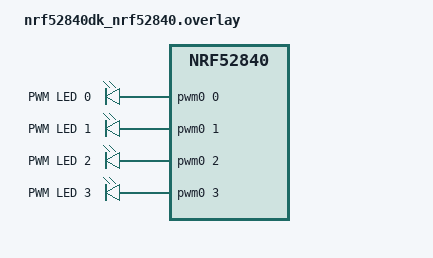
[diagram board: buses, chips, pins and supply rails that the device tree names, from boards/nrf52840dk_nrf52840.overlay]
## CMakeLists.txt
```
#-------------------------------------------------------------------------------
# Zephyr Example Application
#
# Copyright (c) 2021 Nordic Semiconductor ASA
# SPDX-License-Identifier: Apache-2.0

cmake_minimum_required(VERSION 3.13.1)
set(BOARD nrf52840dk/nrf52840)
find_package(Zephyr REQUIRED HINTS $ENV{ZEPHYR_BASE})

project(app LANGUAGES C)
```

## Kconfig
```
# Copyright (c) 2021 Nordic Semiconductor ASA
# SPDX-License-Identifier: Apache-2.0
#
# This file is the application Kconfig entry point. All application Kconfig
# options can be defined here or included via other application Kconfig files.
# You can browse these options using the west targets menuconfig (terminal) or
# guiconfig (GUI).

# Add EIE Kconfigs. This is at the top so it can override defaults from Zephyr
rsource "../drivers/Kconfig.eie"

menu "Zephyr"
source "Kconfig.zephyr"
endmenu

module = APP
module-str = APP
source "subsys/logging/Kconfig.template.log_config"
```

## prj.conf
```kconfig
# Copyright (c) 2021 Nordic Semiconductor ASA
# SPDX-License-Identifier: Apache-2.0
#
# This file contains selected Kconfig options for the application.

CONFIG_GPIO=y
CONFIG_PWM=y
CONFIG_SMF=y
CONFIG_NANOPB=y
CONFIG_EIE_SIMPLE_BLE=y
# CONFIG_UART_CONSOLE=y
CONFIG_EIE_ZEPHYR_DEBUG=y
# CONFIG_EIE_BLE_DEBUG=y


CONFIG_COMPILER_WARNINGS_AS_ERRORS=y
```

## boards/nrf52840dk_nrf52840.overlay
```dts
/ {
    pwmleds {
        compatible = "pwm-leds";
        pwm_led0: pwm_led_0 {
            pwms = <&pwm0 0 PWM_MSEC(20) PWM_POLARITY_NORMAL>;
            label = "PWM LED 0";
        };
        pwm_led1: pwm_led_1 {
            pwms = <&pwm0 1 PWM_MSEC(20) PWM_POLARITY_NORMAL>;
            label = "PWM LED 1";
        };
        pwm_led2: pwm_led_2 {
            pwms = <&pwm0 2 PWM_MSEC(20) PWM_POLARITY_NORMAL>;
            label = "PWM LED 2";
        };
        pwm_led3: pwm_led_3 {
            pwms = <&pwm0 3 PWM_MSEC(20) PWM_POLARITY_NORMAL>;
            label = "PWM LED 3";
        };
    };

    aliases {
        pwm-led0 = &pwm_led0;
        pwm-led1 = &pwm_led1;
        pwm-led2 = &pwm_led2;
        pwm-led3 = &pwm_led3;
    };
};

&pinctrl { 
    pwm0_default: pwm0_default {
		group1 {
			psels = 
                <NRF_PSEL(PWM_OUT0, 0, 13)>, 
                <NRF_PSEL(PWM_OUT1, 0, 14)>, 
                <NRF_PSEL(PWM_OUT2, 0, 15)>, 
                <NRF_PSEL(PWM_OUT3, 0, 16)>;
			nordic,invert;
		};
	};

    pwm0_sleep: pwm0_sleep {
		group1 {
			psels = 
                <NRF_PSEL(PWM_OUT0, 0, 13)>, 
                <NRF_PSEL(PWM_OUT1, 0, 14)>, 
                <NRF_PSEL(PWM_OUT2, 0, 15)>, 
                <NRF_PSEL(PWM_OUT3, 0, 16)>;
			low-power-enable;
		};
	};
};
```

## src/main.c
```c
/**
 * @file main.c
 */

#include <inttypes.h>
#include <zephyr/kernel.h>
#include <zephyr/sys/printk.h>

#include "BTN.h"
#include "LED.h"

#define SLEEP_MS 1
#define PASSWORD_MAX_LENGTH 10

typedef enum {
    ENTRY_MODE,
    LOCKED_MODE,
    WAITING_MODE
} program_state;


int startup_sequence(void);
int password_input(int *password, int max_size);
int password_entry(const int *saved_password,
                   const int *entered_password,
                   int saved_size,
                   int entered_size);
int entry_mode(int *saved_password);
void locked_mode(void);
void waiting_mode(void);


int main(void) {

    if (0 > BTN_init()) {
        return -1;
    }

    if (0 > LED_init()) {
        return -1;
    }

   
    int saved_password[PASSWORD_MAX_LENGTH] = {0, 1, 2};
    int saved_size = 3;

   
    int enter_requested = startup_sequence();

    
    if (enter_requested) {
        int new_size = entry_mode(saved_password);

        if (new_size > 0) {
            saved_size = new_size;
        }
    }

    program_state state = LOCKED_MODE;

    while (1) {

        switch (state) {

        case LOCKED_MODE: {
            LED_set(LED0, LED_ON);

            int entered_password[PASSWORD_MAX_LENGTH];

            int entered_size = password_input(
                entered_password, PASSWORD_MAX_LENGTH);

            if (password_entry(saved_password,
                               entered_password,
                               saved_size,
                               entered_size)) {

                printk("Correct!\n");

            } else {

                printk("Incorrect!\n");
            }

            state = WAITING_MODE;
            break;
        }

        case WAITING_MODE:
            LED_set(LED0, LED_OFF);
            waiting_mode();
            state = LOCKED_MODE;
            break;

        default:
            state = LOCKED_MODE;
            break;
        }

    }

    return 0;
}



int startup_sequence(void) {

    int enter_requested = 0;

    LED_set(LED3, LED_ON);

    int64_t start_time = k_uptime_get();

    while ((k_uptime_get() - start_time) < 3000) {

        if (BTN_check_clear_pressed(BTN3)) {
            enter_requested = 1;
        }

        k_msleep(SLEEP_MS);
    }

    LED_set(LED3, LED_OFF);

    return enter_requested;
}



int password_input(int *password, int max_size) {

    int size = 0;
    int end = 0;

    while (!end) {

        if (BTN_check_clear_pressed(BTN0)) {

            if (size < max_size) {
                password[size] = 0;
                size++;
            }

        } else if (BTN_check_clear_pressed(BTN1)) {

            if (size < max_size) {
                password[size] = 1;
                size++;
            }

        } else if (BTN_check_clear_pressed(BTN2)) {

            if (size < max_size) {
                password[size] = 2;
                size++;
            }

        } else if (BTN_check_clear_pressed(BTN3)) {

            end = 1;
        }

        k_msleep(SLEEP_MS);
    }

    return size;
}



int password_entry(const int *saved_password,
                   const int *entered_password,
                   int saved_size,
                   int entered_size) {

    if (saved_size != entered_size) {
        return 0;
    }

    for (int i = 0; i < saved_size; i++) {

        if (saved_password[i] != entered_password[i]) {
            return 0;
        }
    }

    return 1;
}



int entry_mode(int *saved_password) {

    LED_set(LED3, LED_ON);

    printk("Enter new password, then press BTN3 to save.\n");

    int size = password_input(saved_password,
                              PASSWORD_MAX_LENGTH);

    if (size > 0) {
        printk("Password saved!\n");
    } else {
        printk("Empty password. Previous password retained.\n");
    }

    LED_set(LED3, LED_OFF);

    return size;
}



void waiting_mode(void) {


    BTN_clear_pressed(BTN0);
    BTN_clear_pressed(BTN1);
    BTN_clear_pressed(BTN2);
    BTN_clear_pressed(BTN3);

    while (1) {

        if (BTN_check_clear_pressed(BTN0) ||
            BTN_check_clear_pressed(BTN1) ||
            BTN_check_clear_pressed(BTN2) ||
            BTN_check_clear_pressed(BTN3)) {

            return;
        }

        k_msleep(SLEEP_MS);
    }
}
```

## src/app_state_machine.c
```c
/**
 * @file app_state_machine.c
 */

#include <zephyr/smf.h>
#include <zephyr/sys/printk.h>
#include <zephyr/drivers/gpio.h>
#include "LED.h"
#include "app_state_machine.h"

#define MAX_STRING_LENGTH 256
#define STANDBY_HOLD_TIME_MS 3000
#define SLEEP_MS 1

/*-------------------------------------------------------
 * Type Definitions
 *---------------------------------------------------------*/
enum states {
    STATE_CHAR_ENTRY,
    STATE_STRING_BUILD,
    STATE_STRING_READY,
    STATE_STANDBY
};

typedef struct {
    struct smf_ctx ctx;
    uint8_t current_char;
    uint8_t bit_position;
    char string_buffer[MAX_STRING_LENGTH];
    uint8_t string_length;
    enum states previous_state;
    uint32_t btn_hold_counter;
    uint32_t led_counter;
    uint8_t pwm_brightness;
    bool pwm_increasing;
    bool buttons_held[4];
    bool button_events[4];  // Event flags for button presses
} app_state_machine_t;

/*-------------------------------------------------------
 * Local Variables
 *---------------------------------------------------------*/
static app_state_machine_t sm;
static const struct smf_state states[];

/*-------------------------------------------------------
 * Helper Functions
 *---------------------------------------------------------*/
static void reset_character(void) {
    printk("[DEBUG] Resetting current character\n");
    sm.current_char = 65; // Start at 'A'
    sm.bit_position = 0;
    printk("[INFO] Character reset to 'A'\n");
}

static void reset_string(void) {
    printk("[DEBUG] Resetting entire string\n");
    sm.string_length = 0;
    for (int i = 0; i < MAX_STRING_LENGTH; i++) {
        sm.string_buffer[i] = '\0';
    }
    printk("[INFO] String buffer cleared\n");
}

// Display current character in binary on LED0-2 (lower 3 bits)
static void display_character_on_leds(void) {
    LED_set(LED0, (sm.current_char & 0x01) ? LED_ON : LED_OFF);
    LED_set(LED1, (sm.current_char & 0x02) ? LED_ON : LED_OFF);
    LED_set(LED2, (sm.current_char & 0x04) ? LED_ON : LED_OFF);
    // LED3 is used for state blinking indicator
}

// Print current character info to console
static void print_current_character(void) {
    printk("[INFO] Current: '%c' (ASCII %d, 0x%02X, 0b", 
           sm.current_char, sm.current_char, sm.current_char);
    for (int i = 7; i >= 0; i--) {
        printk("%d", (sm.current_char >> i) & 1);
    }
    printk(")\n");
}

static void print_string(void) {
    printk("\n╔══════════════════════════════════════════════╗\n");
    printk("║          STRING OUTPUT TO SERIAL             ║\n");
    printk("╚══════════════════════════════════════════════╝\n");
    printk("Length: %d characters\n", sm.string_length);
    printk("String: \"");
    for (int i = 0; i < sm.string_length; i++) {
        printk("%c", sm.string_buffer[i]);
    }
    printk("\"\n");
    printk("Hex: ");
    for (int i = 0; i < sm.string_length; i++) {
        printk("%02X ", sm.string_buffer[i]);
    }
    printk("\n");
    printk("═══════════════════════════════════════════════\n\n");
}

static void blink_led(led_id led) {
    LED_set(led, LED_ON);
    k_msleep(100);
    LED_set(led, LED_OFF);
}

/*-------------------------------------------------------
 * STATE 1: Character Entry (EFFICIENT METHOD)
 *---------------------------------------------------------*/
static void char_entry_entry(void *o) {
    printk("\n╔═══════════════════════════════════════════════╗\n");
    printk("║  STATE 1: CHARACTER ENTRY                    ║\n");
    printk("╚═══════════════════════════════════════════════╝\n");
    printk("Instructions:\n");
    printk("  BTN1: Previous character (←)\n");
    printk("  BTN2: Next character (→)\n");
    printk("  BTN3: Reset to 'A'\n");
    printk("  BTN4: Save character\n");
    printk("  Hold BTN1+BTN2 for 3s: Standby mode\n");
    printk("LED0-2 show character in binary\n");
    printk("LED3 blinking at 1 Hz\n\n");
    
    // Start at 'A' if not already set
    if (sm.current_char < 32 || sm.current_char > 126) {
        sm.current_char = 65; // 'A'
    }
    display_character_on_leds();
    print_current_character();
    sm.led_counter = 0;
}

static enum smf_state_result char_entry_run(void *o) {
    // LED3 blink at 1 Hz (500ms on, 500ms off)
    sm.led_counter++;
    if (sm.led_counter >= 500) {
        static bool led3_state = false;
        led3_state = !led3_state;
        LED_set(LED3, led3_state ? LED_ON : LED_OFF);
        sm.led_counter = 0;
    }
    
    // Check for standby hold (BTN0 + BTN1 for 3 seconds)
    if (sm.buttons_held[APP_BUTTON_0] && sm.buttons_held[APP_BUTTON_1]) {
        sm.btn_hold_counter++;
        if (sm.btn_hold_counter >= STANDBY_HOLD_TIME_MS) {
            printk("[INFO] BTN1+BTN2 held for 3s, entering STANDBY\n");
            sm.previous_state = STATE_CHAR_ENTRY;
            sm.btn_hold_counter = 0;
            smf_set_state(SMF_CTX(&sm), &states[STATE_STANDBY]);
            return SMF_EVENT_HANDLED;
        }
    } else {
        sm.btn_hold_counter = 0;
    }
    
    // Handle button press events
    // BTN0: Previous character (decrement)
    if (sm.button_events[APP_BUTTON_0]) {
        sm.button_events[APP_BUTTON_0] = false;
        printk("[EVENT] BTN1 pressed - Previous character\n");
        
        sm.current_char--;
        // Wrap around: space (32) to tilde (126)
        if (sm.current_char < 32) {
            sm.current_char = 126;
        }
        
        display_character_on_leds();
        print_current_character();
        blink_led(LED0);
    }
    
    // BTN1: Next character (increment)
    if (sm.button_events[APP_BUTTON_1]) {
        sm.button_events[APP_BUTTON_1] = false;
        printk("[EVENT] BTN2 pressed - Next character\n");
        
        sm.current_char++;
        // Wrap around: tilde (126) to space (32)
        if (sm.current_char > 126) {
            sm.current_char = 32;
        }
        
        display_character_on_leds();
        print_current_character();
        blink_led(LED1);
    }
    
    // BTN2: Reset to 'A'
    if (sm.button_events[APP_BUTTON_2]) {
        sm.button_events[APP_BUTTON_2] = false;
        printk("[EVENT] BTN3 pressed - Reset to 'A'\n");
        sm.current_char = 65; // 'A'
        display_character_on_leds();
        print_current_character();
    }
    
    // BTN3: Save character and move to STRING_BUILD
    if (sm.button_events[APP_BUTTON_3]) {
        sm.button_events[APP_BUTTON_3] = false;
        printk("[EVENT] BTN4 pressed - Saving character '%c'\n", sm.current_char);
        
        if (sm.string_length < MAX_STRING_LENGTH - 1) {
            sm.string_buffer[sm.string_length] = sm.current_char;
            sm.string_length++;
            printk("[SUCCESS] Character '%c' saved (string length: %d)\n", 
                   sm.current_char, sm.string_length);
            smf_set_state(SMF_CTX(&sm), &states[STATE_STRING_BUILD]);
        } else {
            printk("[ERROR] String buffer full!\n");
        }
    }
    
    return SMF_EVENT_HANDLED;
}

static void char_entry_exit(void *o) {
    printk("[STATE] Exiting CHARACTER ENTRY\n\n");
    LED_set(LED3, LED_OFF);
}

/*-------------------------------------------------------
 * STATE 2: String Building
 *---------------------------------------------------------*/
static void string_build_entry(void *o) {
    printk("\n╔═══════════════════════════════════════════════╗\n");
    printk("║  STATE 2: STRING BUILDING                    ║\n");
    printk("╚═══════════════════════════════════════════════╝\n");
    printk("Current string: \"");
    for (int i = 0; i < sm.string_length; i++) {
        printk("%c", sm.string_buffer[i]);
    }
    printk("\" (%d chars)\n", sm.string_length);
    printk("Instructions:\n");
    printk("  BTN1/BTN2: Select character\n");
    printk("  BTN3: Add character (continue building)\n");
    printk("  BTN4: Finish string\n");
    printk("LED3 blinking at 4 Hz\n\n");
    
    // Reset to 'A' for next character
    sm.current_char = 65;
    display_character_on_leds();
    print_current_character();
    sm.led_counter = 0;
}

static enum smf_state_result string_build_run(void *o) {
    // LED3 blink at 4 Hz (125ms on, 125ms off)
    sm.led_counter++;
    if (sm.led_counter >= 125) {
        static bool led3_state = false;
        led3_state = !led3_state;
        LED_set(LED3, led3_state ? LED_ON : LED_OFF);
        sm.led_counter = 0;
    }
    
    // Check for standby hold
    if (sm.buttons_held[APP_BUTTON_0] && sm.buttons_held[APP_BUTTON_1]) {
        sm.btn_hold_counter++;
        if (sm.btn_hold_counter >= STANDBY_HOLD_TIME_MS) {
            printk("[INFO] BTN1+BTN2 held for 3s, entering STANDBY\n");
            sm.previous_state = STATE_STRING_BUILD;
            sm.btn_hold_counter = 0;
            smf_set_state(SMF_CTX(&sm), &states[STATE_STANDBY]);
            return SMF_EVENT_HANDLED;
        }
    } else {
        sm.btn_hold_counter = 0;
    }
    
    // Handle button press events
    // BTN0: Previous character
    if (sm.button_events[APP_BUTTON_0]) {
        sm.button_events[APP_BUTTON_0] = false;
        printk("[EVENT] BTN1 pressed - Previous character\n");
        
        sm.current_char--;
        if (sm.current_char < 32) {
            sm.current_char = 126;
        }
        
        display_character_on_leds();
        print_current_character();
        blink_led(LED0);
    }
    
    // BTN1: Next character
    if (sm.button_events[APP_BUTTON_1]) {
        sm.button_events[APP_BUTTON_1] = false;
        printk("[EVENT] BTN2 pressed - Next character\n");
        
        sm.current_char++;
        if (sm.current_char > 126) {
            sm.current_char = 32;
        }
        
        display_character_on_leds();
        print_current_character();
        blink_led(LED1);
    }
    
    // BTN2: Add current character and stay in STRING_BUILD
    if (sm.button_events[APP_BUTTON_2]) {
        sm.button_events[APP_BUTTON_2] = false;
        printk("[EVENT] BTN3 pressed - Adding character\n");
        
        if (sm.string_length < MAX_STRING_LENGTH - 1) {
            sm.string_buffer[sm.string_length] = sm.current_char;
            sm.string_length++;
            printk("[SUCCESS] Character '%c' added (total: %d chars)\n", 
                   sm.current_char, sm.string_length);
            
            // Show current string
            printk("[INFO] Current string: \"");
            for (int i = 0; i < sm.string_length; i++) {
                printk("%c", sm.string_buffer[i]);
            }
            printk("\"\n");
            
            // Reset to 'A' for next character
            sm.current_char = 65;
            display_character_on_leds();
            print_current_character();
        } else {
            printk("[ERROR] String buffer full!\n");
        }
    }
    
    // BTN3: Finish string and move to STRING_READY (without adding current char)
    if (sm.button_events[APP_BUTTON_3]) {
        sm.button_events[APP_BUTTON_3] = false;
        printk("[EVENT] BTN4 pressed - Finishing string\n");
        
        if (sm.string_length > 0) {
            printk("[SUCCESS] String complete with %d characters\n", sm.string_length);
            smf_set_state(SMF_CTX(&sm), &states[STATE_STRING_READY]);
        } else {
            printk("[WARN] No characters in string! Add at least one character.\n");
            printk("[INFO] Returning to CHARACTER ENTRY\n");
            reset_character();
            smf_set_state(SMF_CTX(&sm), &states[STATE_CHAR_ENTRY]);
        }
    }
    
    return SMF_EVENT_HANDLED;
}

static void string_build_exit(void *o) {
    printk("[STATE] Exiting STRING BUILDING\n\n");
    LED_set(LED3, LED_OFF);
}

/*-------------------------------------------------------
 * STATE 3: String Ready
 *---------------------------------------------------------*/
static void string_ready_entry(void *o) {
    printk("\n╔═══════════════════════════════════════════════╗\n");
    printk("║  STATE 3: STRING READY                       ║\n");
    printk("╚═══════════════════════════════════════════════╝\n");
    printk("String ready to send: \"");
    for (int i = 0; i < sm.string_length; i++) {
        printk("%c", sm.string_buffer[i]);
    }
    printk("\" (%d chars)\n", sm.string_length);
    printk("Instructions:\n");
    printk("  BTN3: Delete string and start over\n");
    printk("  BTN4: Send to serial monitor\n");
    printk("LED3 blinking at 16 Hz\n\n");
    
    sm.led_counter = 0;
}

static enum smf_state_result string_ready_run(void *o) {
    // LED3 blink at 16 Hz (~31ms on, ~31ms off)
    sm.led_counter++;
    if (sm.led_counter >= 31) {
        static bool led3_state = false;
        led3_state = !led3_state;
        LED_set(LED3, led3_state ? LED_ON : LED_OFF);
        sm.led_counter = 0;
    }
    
    // Check for standby hold
    if (sm.buttons_held[APP_BUTTON_0] && sm.buttons_held[APP_BUTTON_1]) {
        sm.btn_hold_counter++;
        if (sm.btn_hold_counter >= STANDBY_HOLD_TIME_MS) {
            printk("[INFO] BTN1+BTN2 held for 3s, entering STANDBY\n");
            sm.previous_state = STATE_STRING_READY;
            sm.btn_hold_counter = 0;
            smf_set_state(SMF_CTX(&sm), &states[STATE_STANDBY]);
            return SMF_EVENT_HANDLED;
        }
    } else {
        sm.btn_hold_counter = 0;
    }
    
    // Handle button press events
    // BTN2: Delete string and go back to CHAR_ENTRY
    if (sm.button_events[APP_BUTTON_2]) {
        sm.button_events[APP_BUTTON_2] = false;
        printk("[EVENT] BTN3 pressed - Deleting string\n");
        reset_string();
        reset_character();
        smf_set_state(SMF_CTX(&sm), &states[STATE_CHAR_ENTRY]);
    }
    
    // BTN3: Print string to serial and go back to CHAR_ENTRY
    if (sm.button_events[APP_BUTTON_3]) {
        sm.button_events[APP_BUTTON_3] = false;
        printk("[EVENT] BTN4 pressed - Sending to serial\n");
        print_string();
        reset_string();
        reset_character();
        smf_set_state(SMF_CTX(&sm), &states[STATE_CHAR_ENTRY]);
    }
    
    return SMF_EVENT_HANDLED;
}

static void string_ready_exit(void *o) {
    printk("[STATE] Exiting STRING READY\n\n");
    LED_set(LED3, LED_OFF);
}

/*-------------------------------------------------------
 * STATE 4: Standby
 *---------------------------------------------------------*/
static void standby_entry(void *o) {
    printk("\n╔═══════════════════════════════════════════════╗\n");
    printk("║  STATE 4: STANDBY MODE                       ║\n");
    printk("╚═══════════════════════════════════════════════╝\n");
    printk("All LEDs pulsing smoothly...\n");
    printk("Press any button to return to previous state.\n\n");
    
    sm.pwm_brightness = 0;
    sm.pwm_increasing = true;
}

static enum smf_state_result standby_run(void *o) {
    // Pulse all LEDs with PWM (smooth breathing effect)
    if (sm.pwm_increasing) {
        sm.pwm_brightness += 2;
        if (sm.pwm_brightness >= 100) {
            sm.pwm_brightness = 100;
            sm.pwm_increasing = false;
        }
    } else {
        if (sm.pwm_brightness >= 2) {
            sm.pwm_brightness -= 2;
        } else {
            sm.pwm_brightness = 0;
            sm.pwm_increasing = true;
        }
    }
    
    LED_pwm(LED0, sm.pwm_brightness);
    LED_pwm(LED1, sm.pwm_brightness);
    LED_pwm(LED2, sm.pwm_brightness);
    LED_pwm(LED3, sm.pwm_brightness);
    
    // Check for any button press to exit
    for (int i = 0; i < 4; i++) {
        if (sm.button_events[i]) {
            sm.button_events[i] = false;
            printk("[EVENT] Button %d pressed - Exiting STANDBY\n", i + 1);
            smf_set_state(SMF_CTX(&sm), &states[sm.previous_state]);
            return SMF_EVENT_HANDLED;
        }
    }
    
    return SMF_EVENT_HANDLED;
}

static void standby_exit(void *o) {
    printk("[STATE] Exiting STANDBY MODE\n\n");
    
    // Turn off PWM on all LEDs
    LED_pwm(LED0, 0);
    LED_pwm(LED1, 0);
    LED_pwm(LED2, 0);
    LED_pwm(LED3, 0);
}

/*-------------------------------------------------------
 * State Table
 *---------------------------------------------------------*/
static const struct smf_state states[] = {
    [STATE_CHAR_ENTRY]   = SMF_CREATE_STATE(char_entry_entry, char_entry_run, char_entry_exit, NULL, NULL),
    [STATE_STRING_BUILD] = SMF_CREATE_STATE(string_build_entry, string_build_run, string_build_exit, NULL, NULL),
    [STATE_STRING_READY] = SMF_CREATE_STATE(string_ready_entry, string_ready_run, string_ready_exit, NULL, NULL),
    [STATE_STANDBY]      = SMF_CREATE_STATE(standby_entry, standby_run, standby_exit, NULL, NULL),
};

/*-------------------------------------------------------
 * Public Functions
 *---------------------------------------------------------*/
void app_state_machine_init(void) {
    // Initialize all variables
    sm.current_char = 65; // Start at 'A'
    reset_string();
    sm.previous_state = STATE_CHAR_ENTRY;
    sm.btn_hold_counter = 0;
    sm.led_counter = 0;
    sm.pwm_brightness = 0;
    sm.pwm_increasing = true;
    
    for (int i = 0; i < 4; i++) {
        sm.buttons_held[i] = false;
        sm.button_events[i] = false;
    }
    
    printk("\n\n");
    printk("╔══════════════════════════════════════════════════╗\n");
    printk("║                                                  ║\n");
    printk("║     ASCII String Entry State Machine            ║\n");
    printk("║     Mini Project - EiE                          ║\n");
    printk("║     EFFICIENT CHARACTER SELECTION MODE          ║\n");
    printk("║                                                  ║\n");
    printk("╚══════════════════════════════════════════════════╝\n");
    printk("\n");
    
    // Start in character entry state
    smf_set_initial(SMF_CTX(&sm), &states[STATE_CHAR_ENTRY]);
}

int app_state_machine_run(void) {
    return smf_run_state(SMF_CTX(&sm));
}

void app_state_machine_button_press(app_button_t button) {
    if (button < 4) {
        sm.buttons_held[button] = true;
        sm.button_events[button] = true;
        printk("[INPUT] Button %d pressed\n", button + 1);
    }
}

void app_state_machine_button_release(app_button_t button) {
    if (button < 4) {
        sm.buttons_held[button] = false;
        printk("[INPUT] Button %d released\n", button + 1);
    }
}
```

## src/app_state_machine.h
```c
/**
 * @file app_state_machine.h
 */

#ifndef APP_STATE_MACHINE_H
#define APP_STATE_MACHINE_H

#include <stdbool.h>
#include <stdint.h>

typedef enum {
    APP_BUTTON_0 = 0,
    APP_BUTTON_1 = 1,
    APP_BUTTON_2 = 2,
    APP_BUTTON_3 = 3
} app_button_t;

void app_state_machine_init(void);
int app_state_machine_run(void);
void app_state_machine_button_press(app_button_t button);
void app_state_machine_button_release(app_button_t button);

#endif // APP_STATE_MACHINE_H
```

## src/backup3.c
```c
/*
 * main.c
 */

#include <zephyr/kernel.h>
#include <zephyr/device.h>
#include <zephyr/drivers/gpio.h>
#include <zephyr/sys/printk.h>
#include <inttypes.h>

#define LED0_NODE DT_ALIAS(led0)
#define LED1_NODE DT_ALIAS(led1)  
#define LED2_NODE DT_ALIAS(led2)  
#define LED3_NODE DT_ALIAS(led3)

static const struct gpio_dt_spec led0 = GPIO_DT_SPEC_GET(LED0_NODE,gpios);
static const struct gpio_dt_spec led1 = GPIO_DT_SPEC_GET(LED1_NODE,gpios);
static const struct gpio_dt_spec led2 = GPIO_DT_SPEC_GET(LED2_NODE,gpios);
static const struct gpio_dt_spec led3 = GPIO_DT_SPEC_GET(LED3_NODE,gpios);

int main(void) {
    int ret;

    if(!gpio_is_ready_dt(&led0) || !gpio_is_ready_dt(&led1) || !gpio_is_ready_dt(&led2) || !gpio_is_ready_dt(&led3)) {
        return -1;
    }

    ret = gpio_pin_configure_dt(&led0,GPIO_OUTPUT_INACTIVE);
    if(ret<0) {
        return ret;
    }
    ret = gpio_pin_configure_dt(&led1,GPIO_OUTPUT_INACTIVE);
    if(ret<0) {
        return ret;
    }
    ret = gpio_pin_configure_dt(&led2,GPIO_OUTPUT_INACTIVE);
    if(ret<0) {
        return ret;
    }
    ret = gpio_pin_configure_dt(&led3,GPIO_OUTPUT_INACTIVE);
    if(ret<0) {
        return ret;
    }

    while(1) { //RAINDROP SHIT!
        gpio_pin_toggle_dt(&led0);
        k_msleep(50);
        gpio_pin_toggle_dt(&led2);
        k_msleep(50);
        gpio_pin_toggle_dt(&led0);
        k_msleep(50);
        gpio_pin_toggle_dt(&led2);
        k_msleep(100);

        gpio_pin_toggle_dt(&led1);
        k_msleep(50);
        gpio_pin_toggle_dt(&led3);
        k_msleep(50);
        gpio_pin_toggle_dt(&led1);
        k_msleep(50);
        gpio_pin_toggle_dt(&led3);
        k_msleep(100);

    }
    return 0;
}
```

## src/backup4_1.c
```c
/*
 * main.c
 */

#include <zephyr/kernel.h>
#include <zephyr/device.h>
#include <zephyr/drivers/gpio.h>
#include <zephyr/sys/printk.h>
#include <inttypes.h>

#include "BTN.h"
#include "LED.h"

#define SLEEP_TIME_MS 1000

#define SW0_NODE DT_ALIAS(sw0)

static const struct gpio_dt_spec button = GPIO_DT_SPEC_GET(SW0_NODE,gpios);
static struct gpio_callback button_isr_data;

void button_isr(const struct device *dev, struct gpio_callback *cb, uint32_t pins) {
    printk("BUTTON PRESSED!\n");
}

int main(void) {
    int ret;

    if(!gpio_is_ready_dt(&button)) {
        return 0;
    }

    ret = gpio_pin_configure_dt(&button,GPIO_INPUT);
    if (0 > ret) {
        return 0;
    }

    ret = gpio_pin_interrupt_configure_dt(&button,GPIO_INT_EDGE_TO_ACTIVE);
    if (0 > ret) {
        return 0;
    }

    gpio_init_callback(&button_isr_data,button_isr,BIT(button.pin));
    gpio_add_callback(button.port,&button_isr_data);

    return 0;
}
```

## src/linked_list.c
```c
/**
 * @file linked_list.c
 *
 */

#include "linked_list.h"

#include <assert.h>
#include <stdint.h>
#include <stdlib.h>
#include <zephyr/sys/printk.h>

typedef struct node {
  uint32_t data;
  struct node* next;
  struct node* prev;
} node_t;

typedef struct linked_list {
  node_t* head;
  node_t* cursor;
} linked_list_t;

linked_list_t* ll_create_new(void) {
  linked_list_t* linked_list = malloc(sizeof(linked_list_t));
  assert(linked_list);

  linked_list->head = NULL;
  linked_list->cursor = NULL;

  return linked_list;
}

void ll_destroy(linked_list_t* linked_list) {
  if (linked_list == NULL) {
    return;
  }
  // Find all nodes in the linked list and free them
  node_t* node = linked_list->head;
  while (node != NULL) {
    node_t* next_node = node->next;
    free(node);

    node = next_node;
  }

  // Free the full linked list object
  free(linked_list);
}

void ll_append_data(linked_list_t* linked_list, int32_t data) {
  if (linked_list == NULL) {
    return;
  }
  node_t* new_node = malloc(sizeof(node_t));
  assert(new_node);
  new_node->data = data;
  new_node->next = NULL;

  // If this is a new linked list update the head and cursor
  if (linked_list->head == NULL) {
    linked_list->head = new_node;
    linked_list->cursor = new_node;
    new_node->prev = NULL;
    return;
  }

  // Seek the current tail
  node_t* node;
  for (node = linked_list->head; node->next != NULL; node = node->next);

  // Update the tail with the new node
  node->next = new_node;
  new_node->prev = node;
}

void ll_add_data_at_cursor(linked_list_t* linked_list, int32_t data) {
  if (linked_list == NULL) {
    return;
  } else if (linked_list->cursor == NULL) {
    // If the cursor is null the list hasn't been initialized. Append
    // data already handles initialization so just use it.
    ll_append_data(linked_list, data);
    return;
  }

  node_t* new_node = malloc(sizeof(node_t));
  assert(new_node);
  new_node->data = data;

  // Update linkage
  if (linked_list->cursor->next != NULL) {
    linked_list->cursor->next->prev = new_node;
  }
  new_node->next = linked_list->cursor->next;
  new_node->prev = linked_list->cursor;
  linked_list->cursor->next = new_node;
};

void ll_remove_data_at_cursor(linked_list_t* linked_list) {
  // Check for null pointers. Return early if a null pointer is passed in
  if (linked_list == NULL || linked_list->cursor == NULL) {
    return;
  }
  // Create a local copy of the cursor for convenience.
  node_t* cursor = linked_list->cursor;

  // Get the elements before and after the cursor accounting for null
  node_t* before_cursor = NULL;
  if (cursor->prev != NULL) {
    before_cursor = cursor->prev;
  }
  node_t* after_cursor = NULL;
  if (cursor->next != NULL) {
    after_cursor = cursor->next;
  }

  // Update where the pointers are pointing. The element before the
  // cursor should now be pointing to the element after the cursor and
  // vice versa
  if (before_cursor != NULL) {
    // Hint something is missing here:

    // Update the cursor in the linked list to point to the element that
    // was before the cursor
    linked_list->cursor = before_cursor;
  } else {
    // If the element before the cursor was null, that means the cursor
    // was at the head so update both the cursor and head to point to
    // the element that was after the cursor.
    linked_list->cursor = after_cursor;
    linked_list->head = after_cursor;
  }
  if (after_cursor != NULL) {
    after_cursor->prev = before_cursor;
  }

  free(cursor);
}

void ll_cursor_move_forward(linked_list_t* linked_list, int n) {
  if (linked_list == NULL || linked_list->cursor == NULL) {
    return;
  }

  for (int i = 0; i < n && linked_list->cursor->next != NULL; i++) {
    linked_list->cursor = linked_list->cursor->next;
  }
}

void ll_cursor_move_back(linked_list_t* linked_list, int n) {
  if (linked_list == NULL || linked_list->cursor == NULL) {
    return;
  }

  for (int i = 0; i < n && linked_list->cursor->prev != NULL; i++) {
    linked_list->cursor = linked_list->cursor->prev;
  }
}

int32_t ll_cursor_get_data(linked_list_t* linked_list) {
  if (linked_list == NULL || linked_list->cursor == NULL) {
    return 0xFFFFFFFF;
  }

  return linked_list->cursor->data;
}

void ll_print_data(linked_list_t const* linked_list) {
  if (linked_list == NULL) {
    return;
  }
  for (node_t const* node = linked_list->head; node != NULL;
       node = node->next) {
    printk("%d ", node->data);
  }
  printk("\n");
}

void ll_print_data_reverse(linked_list_t const* linked_list) {
  if (linked_list == NULL || linked_list->head == NULL) {
    return;
  }

  node_t const* node;
  for (node = linked_list->head; node->next != NULL; node = node->next);

  for (; node != NULL; node = node->prev) {
    printk("%d ", node->data);
  }
  printk("\n");
}
```

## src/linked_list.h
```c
/**
 * @file linked_list.h
 *
 * @brief Doubly linked list API used by the sample application.
 */

#include <stdint.h>

typedef struct linked_list linked_list_t;

/**
 * @brief Creates a new empty linked list.
 *
 * @return Pointer to a newly allocated linked list object.
 */
linked_list_t* ll_create_new(void);

/**
 * @brief Frees all nodes in the list and then frees the list object itself.
 *
 * @param linked_list Pointer to the list to destroy. If NULL, no action is
 * taken.
 */
void ll_destroy(linked_list_t* linked_list);

/**
 * @brief Appends data to the end of the list.
 *
 * If the list is empty, the new node becomes both the head and the cursor.
 *
 * @param linked_list Pointer to the list to modify.
 * @param data Integer value to insert at the tail of the list.
 */
void ll_append_data(linked_list_t* linked_list, int32_t data);

/**
 * @brief Inserts data immediately after the current cursor position.
 *
 * If the list is empty or the cursor is NULL, the data is appended to the end
 * of the list, which initializes the list as needed.
 *
 * @param linked_list Pointer to the list to modify.
 * @param data Integer value to insert after the current cursor node.
 */
void ll_add_data_at_cursor(linked_list_t* linked_list, int32_t data);

/**
 * @brief Removes the node currently pointed to by the cursor.
 *
 * The cursor is advanced to the next node if one exists; otherwise it moves to
 * the previous node. If the list becomes empty, the head and cursor are set to
 * NULL.
 *
 * @param linked_list Pointer to the list to modify.
 */
void ll_remove_data_at_cursor(linked_list_t* linked_list);

/**
 * @brief Returns the data stored in the current cursor node.
 *
 * @param linked_list Pointer to the list being queried.
 * @return The data value at the cursor, or 0xFFFFFFFF if the list or cursor is
 * NULL.
 */
int32_t ll_cursor_get_data(linked_list_t* linked_list);

/**
 * @brief Moves the cursor forward by up to n elements.
 *
 * The cursor stops when it reaches the tail or when n steps have been taken.
 *
 * @param linked_list Pointer to the list to modify.
 * @param n Maximum number of nodes to move forward.
 */
void ll_cursor_move_forward(linked_list_t* linked_list, int n);

/**
 * @brief Moves the cursor backward by up to n elements.
 *
 * The cursor stops when it reaches the head or when n steps have been taken.
 *
 * @param linked_list Pointer to the list to modify.
 * @param n Maximum number of nodes to move backward.
 */
void ll_cursor_move_back(linked_list_t* linked_list, int n);

/**
 * @brief Prints the list in forward order from head to tail.
 *
 * @param linked_list Pointer to the list to print. If NULL, no output is
 * produced.
 */
void ll_print_data(linked_list_t const* linked_list);

/**
 * @brief Prints the list in reverse order from tail to head.
 *
 * @param linked_list Pointer to the list to print. If NULL, no output is
 * produced.
 */
void ll_print_data_reverse(linked_list_t const* linked_list);
```

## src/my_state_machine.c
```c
/**
 * @file my_state_machine.c
 */

#include <zephyr/smf.h>
#include <zephyr/sys/printk.h>
#include "LED.h"
#include "my_state_machine.h"

/*-------------------------------------------------------
 * Type Definitions
 *---------------------------------------------------------*/
enum states {
    S0_ALL_OFF,      // All LEDs off
    S1_LED1_BLINK,   // LED 1 blink at 4 Hz
    S2_LED13_ON,     // LED 1 and 3 on, LED 2 and 4 off
    S3_LED24_ON,     // LED 1 and 3 off, LED 2 and 4 on
    S4_ALL_BLINK     // All LEDs blink at 16 Hz
};

typedef struct {
    struct smf_ctx ctx;
    uint32_t count;           // General purpose counter
    bool button_pressed[4];   // Track button states
    bool led_state;           // Current LED on/off state for blinking
} state_machine_t;

/*-------------------------------------------------------
 * Local Variables
 *---------------------------------------------------------*/
static state_machine_t sm_object;
static const struct smf_state states[];

/*-------------------------------------------------------
 * Helper Functions
 *---------------------------------------------------------*/
static void set_all_leds(bool state) {
    LED_set(LED0, state ? LED_ON : LED_OFF);
    LED_set(LED1, state ? LED_ON : LED_OFF);
    LED_set(LED2, state ? LED_ON : LED_OFF);
    LED_set(LED3, state ? LED_ON : LED_OFF);
}

/*-------------------------------------------------------
 * State S0 - All LEDs OFF
 *---------------------------------------------------------*/
static void s0_entry(void *o) {
    printk("Entering S0: All LEDs OFF\n");
    set_all_leds(false);
    sm_object.count = 0;
}

static enum smf_state_result s0_run(void *o) {
    // Transition to S1 on Button 1
    if (sm_object.button_pressed[BUTTON_1]) {
        sm_object.button_pressed[BUTTON_1] = false;
        smf_set_state(SMF_CTX(&sm_object), &states[S1_LED1_BLINK]);
    }
    // Transition to S4 on Button 4
    else if (sm_object.button_pressed[BUTTON_4]) {
        sm_object.button_pressed[BUTTON_4] = false;
        smf_set_state(SMF_CTX(&sm_object), &states[S4_ALL_BLINK]);
    }
    
    return SMF_EVENT_HANDLED;
}

static void s0_exit(void *o) {
    printk("Exiting S0: All LEDs OFF\n");
}

/*-------------------------------------------------------
 * State S1 - LED 1 Blink at 4 Hz
 *---------------------------------------------------------*/
static void s1_entry(void *o) {
    printk("Entering S1: LED 1 Blink at 4 Hz\n");
    sm_object.count = 0;
    sm_object.led_state = false;
    set_all_leds(false);
}

static enum smf_state_result s1_run(void *o) {
    // 4 Hz = 250ms period (125ms on, 125ms off)
    // At 1ms sleep: 125 counts per half period
    if (sm_object.count >= 125) {
        sm_object.count = 0;
        sm_object.led_state = !sm_object.led_state;
        LED_set(LED0, sm_object.led_state ? LED_ON : LED_OFF);
    } else {
        sm_object.count++;
    }
    
    // Transition to S0 on Button 4
    if (sm_object.button_pressed[BUTTON_4]) {
        sm_object.button_pressed[BUTTON_4] = false;
        smf_set_state(SMF_CTX(&sm_object), &states[S0_ALL_OFF]);
    }
    // Transition to S2 on Button 2
    else if (sm_object.button_pressed[BUTTON_2]) {
        sm_object.button_pressed[BUTTON_2] = false;
        smf_set_state(SMF_CTX(&sm_object), &states[S2_LED13_ON]);
    }
    
    return SMF_EVENT_HANDLED;
}

static void s1_exit(void *o) {
    printk("Exiting S1: LED 1 Blink at 4 Hz\n");
}

/*-------------------------------------------------------
 * State S2 - LED 1 and 3 ON, LED 2 and 4 OFF
 *---------------------------------------------------------*/
static void s2_entry(void *o) {
    printk("Entering S2: LED 1 and 3 ON, LED 2 and 4 OFF\n");
    LED_set(LED0, LED_ON);   // LED 1 on
    LED_set(LED1, LED_OFF);  // LED 2 off
    LED_set(LED2, LED_ON);   // LED 3 on
    LED_set(LED3, LED_OFF);  // LED 4 off
    sm_object.count = 0;
}

static enum smf_state_result s2_run(void *o) {
    sm_object.count++;
    
    // Automatic transition to S3 after 2 seconds (2000ms)
    if (sm_object.count >= 2000) {
        sm_object.count = 0;
        smf_set_state(SMF_CTX(&sm_object), &states[S3_LED24_ON]);
    }
    
    // Transition to S0 on Button 4
    if (sm_object.button_pressed[BUTTON_4]) {
        sm_object.button_pressed[BUTTON_4] = false;
        smf_set_state(SMF_CTX(&sm_object), &states[S0_ALL_OFF]);
    }
    
    return SMF_EVENT_HANDLED;
}

static void s2_exit(void *o) {
    printk("Exiting S2: LED 1 and 3 ON, LED 2 and 4 OFF\n");
}

/*-------------------------------------------------------
 * State S3 - LED 1 and 3 OFF, LED 2 and 4 ON
 *---------------------------------------------------------*/
static void s3_entry(void *o) {
    printk("Entering S3: LED 1 and 3 OFF, LED 2 and 4 ON\n");
    LED_set(LED0, LED_OFF);  // LED 1 off
    LED_set(LED1, LED_ON);   // LED 2 on
    LED_set(LED2, LED_OFF);  // LED 3 off
    LED_set(LED3, LED_ON);   // LED 4 on
    sm_object.count = 0;
}

static enum smf_state_result s3_run(void *o) {
    sm_object.count++;
    
    // Automatic transition to S2 after 1 second (1000ms)
    if (sm_object.count >= 1000) {
        sm_object.count = 0;
        smf_set_state(SMF_CTX(&sm_object), &states[S2_LED13_ON]);
    }
    
    // Transition to S0 on Button 4
    if (sm_object.button_pressed[BUTTON_4]) {
        sm_object.button_pressed[BUTTON_4] = false;
        smf_set_state(SMF_CTX(&sm_object), &states[S0_ALL_OFF]);
    }
    
    return SMF_EVENT_HANDLED;
}

static void s3_exit(void *o) {
    printk("Exiting S3: LED 1 and 3 OFF, LED 2 and 4 ON\n");
}

/*-------------------------------------------------------
 * State S4 - All LEDs Blink at 16 Hz
 *---------------------------------------------------------*/
static void s4_entry(void *o) {
    printk("Entering S4: All LEDs Blink at 16 Hz\n");
    sm_object.count = 0;
    sm_object.led_state = false;
    set_all_leds(false);
}

static enum smf_state_result s4_run(void *o) {
    // 16 Hz = 62.5ms period (31.25ms on, 31.25ms off)
    // At 1ms sleep: ~31 counts per half period
    if (sm_object.count >= 31) {
        sm_object.count = 0;
        sm_object.led_state = !sm_object.led_state;
        set_all_leds(sm_object.led_state);
    } else {
        sm_object.count++;
    }
    
    // Transition to S0 on Button 4
    if (sm_object.button_pressed[BUTTON_4]) {
        sm_object.button_pressed[BUTTON_4] = false;
        smf_set_state(SMF_CTX(&sm_object), &states[S0_ALL_OFF]);
    }
    // Transition to S1 on Button 3
    else if (sm_object.button_pressed[BUTTON_3]) {
        sm_object.button_pressed[BUTTON_3] = false;
        smf_set_state(SMF_CTX(&sm_object), &states[S1_LED1_BLINK]);
    }
    
    return SMF_EVENT_HANDLED;
}

static void s4_exit(void *o) {
    printk("Exiting S4: All LEDs Blink at 16 Hz\n");
}

/*-------------------------------------------------------
 * State Table
 *---------------------------------------------------------*/
static const struct smf_state states[] = {
    [S0_ALL_OFF]    = SMF_CREATE_STATE(s0_entry, s0_run, s0_exit, NULL, NULL),
    [S1_LED1_BLINK] = SMF_CREATE_STATE(s1_entry, s1_run, s1_exit, NULL, NULL),
    [S2_LED13_ON]   = SMF_CREATE_STATE(s2_entry, s2_run, s2_exit, NULL, NULL),
    [S3_LED24_ON]   = SMF_CREATE_STATE(s3_entry, s3_run, s3_exit, NULL, NULL),
    [S4_ALL_BLINK]  = SMF_CREATE_STATE(s4_entry, s4_run, s4_exit, NULL, NULL),
};

/*-------------------------------------------------------
 * Public Functions
 *---------------------------------------------------------*/
void state_machine_init(void) {
    sm_object.count = 0;
    sm_object.led_state = false;
    
    // Initialize button states
    for (int i = 0; i < 4; i++) {
        sm_object.button_pressed[i] = false;
    }
    
    printk("Initializing State Machine\n");
    // Start in S0 (all LEDs off)
    smf_set_initial(SMF_CTX(&sm_object), &states[S0_ALL_OFF]);
}

int state_machine_run(void) {
    return smf_run_state(SMF_CTX(&sm_object));
}

void state_machine_set_button(button_t button, bool pressed) {
    if (button < 4) {
        sm_object.button_pressed[button] = pressed;
    }
}
```

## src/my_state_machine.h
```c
/**
 * @file my_state_machine.h
 */

#ifndef MY_STATE_MACHINE_H 
#define MY_STATE_MACHINE_H

#include <stdbool.h>

// Button definitions matching your hardware
typedef enum {
    BUTTON_1 = 0,
    BUTTON_2 = 1,
    BUTTON_3 = 2,
    BUTTON_4 = 3
} button_t;

void state_machine_init(void); 
int state_machine_run(void);
void state_machine_set_button(button_t button, bool pressed);

#endif // MY_STATE_MACHINE_H
```

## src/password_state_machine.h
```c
/**
 * @file password_state_machine.h
 */

#ifndef PASSWORD_STATE_MACHINE_H
#define PASSWORD_STATE_MACHINE_H

#include <stdbool.h>
#include <stdint.h>

typedef enum {
    PASSWORD_BUTTON_0 = 0,
    PASSWORD_BUTTON_1 = 1,
    PASSWORD_BUTTON_2 = 2,
    PASSWORD_BUTTON_3 = 3  // Enter button
} password_button_t;

void password_state_machine_init(void);
int password_state_machine_run(void);
void password_state_machine_button_press(password_button_t button);

#endif // PASSWORD_STATE_MACHINE_H
```

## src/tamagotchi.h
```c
/**
 * @file tamagotchi.h
 * @brief Tamagotchi Virtual Pet State Machine
 */

#ifndef TAMAGOTCHI_H
#define TAMAGOTCHI_H

#include <stdint.h>
#include <stdbool.h>

typedef enum {
    TAMA_BUTTON_FEED = 0,    // BTN1
    TAMA_BUTTON_PLAY = 1,    // BTN2
    TAMA_BUTTON_CLEAN = 2,   // BTN3
    TAMA_BUTTON_LIGHT = 3    // BTN4
} tamagotchi_button_t;

void tamagotchi_init(void);
int tamagotchi_run(void);
void tamagotchi_button_press(tamagotchi_button_t button);
void tamagotchi_button_release(tamagotchi_button_t button);

#endif // TAMAGOTCHI_H
```
